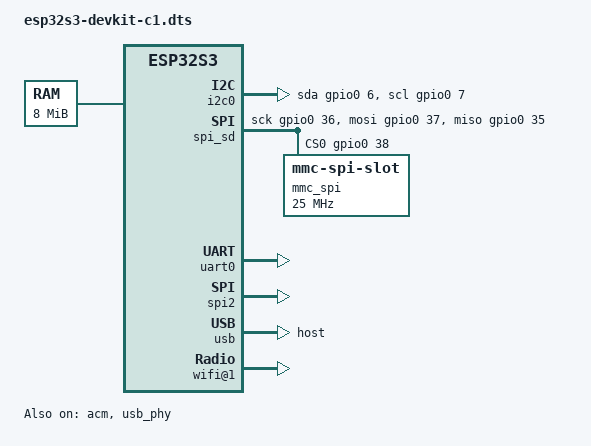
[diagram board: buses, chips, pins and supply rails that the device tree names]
// SPDX-License-Identifier: GPL-2.0-or-later
/dts-v1/;
#include <dt-bindings/gpio/gpio.h>
#include <dt-bindings/interrupt-controller/irq.h>
#include "gpio-esp32.h"
#include "esp32s3.dtsi"

/ {
	memory@0 {
		device_type = "memory";
		reg = <0x3d800000 0x00800000>;
	};

	i2c0 {
		#address-cells = <1>;
		#size-cells = <0>;
		compatible = "i2c-gpio";

		sda-gpios = <&gpio0 6 (GPIO_ACTIVE_HIGH | GPIO_OPEN_DRAIN)>;
		scl-gpios = <&gpio0 7 (GPIO_ACTIVE_HIGH | GPIO_OPEN_DRAIN)>;

		pinctrl-0 = <&i2c0_pins>;
		pinctrl-names = "default";
	};

	/* SD Card via SPI bit-bang on GPIO 35/36/37/38
	 * SD_MISO = GPIO35, SD_SCK = GPIO36, SD_MOSI = GPIO37, SD_CS = GPIO38
	 * Change these pins to match your actual wiring!
	 */
	spi_sd: spi-gpio-sd {
		compatible = "spi-gpio";
		#address-cells = <1>;
		#size-cells = <0>;

		mosi-gpios  = <&gpio0 37 GPIO_ACTIVE_HIGH>;
		miso-gpios  = <&gpio0 35 GPIO_ACTIVE_HIGH>;
		sck-gpios   = <&gpio0 36 GPIO_ACTIVE_HIGH>;
		cs-gpios    = <&gpio0 38 GPIO_ACTIVE_HIGH>;
		num-chipselects = <1>;

		pinctrl-0 = <&sd_spi_pins>;
		pinctrl-names = "default";

		mmc_spi@0 {
			compatible = "mmc-spi-slot";
			reg = <0>;
			spi-max-frequency = <25000000>;
			voltage-ranges = <3200 3400>;
			broken-cd;
		};
	};
};

&gpio_in_mux {
	status = "ok";
	usb_device_in: usb_device_in {
		pinctrl-single,pins = <
			GPIO_FUNC_IN_SEL(58) 0x38		/* usb_otg_iddig_in: fixed '1' */
			GPIO_FUNC_IN_SEL(59) 0x3c		/* usb_srp_avalid_in: fixed '0' */
			GPIO_FUNC_IN_SEL(60) 0x38		/* usb_srp_bvalid_in: fixed '1' */
			GPIO_FUNC_IN_SEL(61) 0x38>;		/* usb_otg_vbusvalid_in: fixed '1' */
	};

	usb_host_in: usb_host_in {
		pinctrl-single,pins = <
			GPIO_FUNC_IN_SEL(58) 0x3c		/* usb_otg_iddig_in: fixed '0' */
			GPIO_FUNC_IN_SEL(59) 0x38		/* usb_srp_avalid_in: fixed '1' */
			GPIO_FUNC_IN_SEL(60) 0x3c		/* usb_srp_bvalid_in: fixed '0' */
			GPIO_FUNC_IN_SEL(61) 0x38>;		/* usb_otg_vbusvalid_in: fixed '1' */
	};
};

&rtc_iomux {
	status = "ok";
	usb_rtc_pins: usb_rtc_pins {
		pinctrl-single,pins = <
			PIN(19) RTC_MUX_SEL			/* USB_D- */
			PIN(20) RTC_MUX_SEL>;			/* USB_D+ */
	};
};

&iomux {
	status = "ok";

	i2c0_pins: i2c0_pins {
		pinctrl-single,pins = <
			PIN(6) FUN0_20MA_IE_WPU			/* SDA */
			PIN(7) FUN0_20MA_IE_WPU>;		/* SCL */
	};
	spi2_pins: spi2_pins {
		pinctrl-single,pins = <
			PIN(10) (FUN_SEL(4) | FUN_DRV_20MA)	/* CS0 - Display ST7796 */
			PIN(11) (FUN_SEL(4) | FUN_DRV_40MA)	/* MOSI - Display ST7796 */
			PIN(12) (FUN_SEL(4) | FUN_DRV_40MA)	/* SCK - Display ST7796 */
			PIN(13) (FUN_SEL(4) | FUN0_20MA_IE_WPU)>;/* MISO - Display ST7796 */
	};
	uart0_pins: uart0_pins {
		pinctrl-single,pins = <
			PIN(43) FUN0_20MA			/* U0TXD */
			PIN(44) FUN0_20MA_IE_WPU>;		/* U0RXD */
	};
	usb_pins: usb_pins {
		pinctrl-single,pins = <
			PIN(19) MUX_SLP_SEL			/* USB_D- */
			PIN(20) MUX_SLP_SEL>;			/* USB_D+ */
	};
	sd_spi_pins: sd_spi_pins {
		pinctrl-single,pins = <
			PIN(35) FUN0_20MA_IE_WPU		/* SD_MISO (GPIO35) */
			PIN(36) (FUN0_20MA | FUN_DRV_20MA)	/* SD_SCK  (GPIO36) */
			PIN(37) (FUN0_20MA | FUN_DRV_20MA)	/* SD_MOSI (GPIO37) */
			PIN(38) (FUN0_20MA | FUN_DRV_20MA)>;	/* SD_CS   (GPIO38) */
	};
};

&gpio0 {
	status = "ok";
};

&uart0 {
	pinctrl-0 = <&uart0_pins>;
	pinctrl-names = "default";
	status = "ok";
};

&spi2 {
	pinctrl-0 = <&spi2_pins>;
	pinctrl-names = "default";
	status = "ok";
	/* SPI2 hardware pins available for display; esp_de uses /dev/mem bit-bang */
};

&acm {
	status = "ok";
};

&usb_phy {
	status = "ok";
};

&usb {
#if 1
	dr_mode = "host";
	pinctrl-0 = <&usb_host_in &usb_rtc_pins>;
#else
	dr_mode = "peripheral";
	pinctrl-0 = <&usb_device_in &usb_rtc_pins>;
#endif
	pinctrl-names = "default";
	status = "ok";
};

&ipc {
	wifi@1 {
		compatible = "esp,esp32-wifi-shmem";
		reg = <1>;
	};
};

&intc {
	reg = <0x600c2800 0x800>;
};
